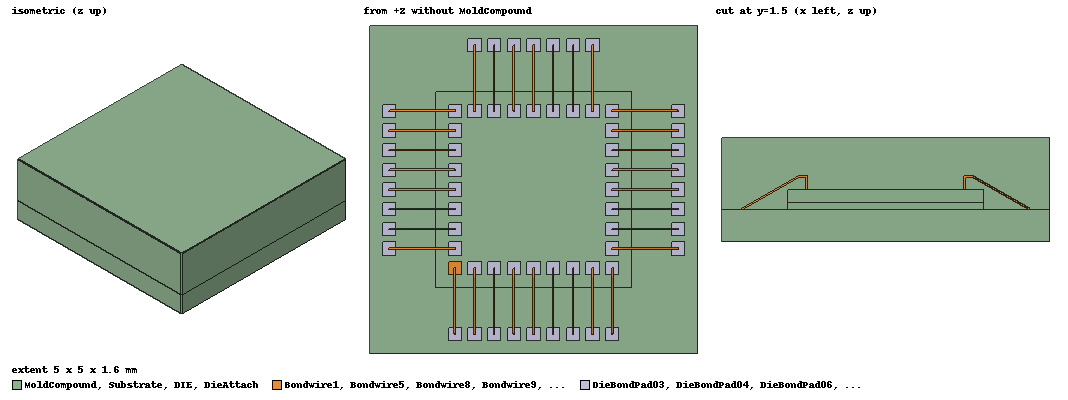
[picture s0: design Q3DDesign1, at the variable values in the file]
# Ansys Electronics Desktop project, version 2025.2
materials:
  vacuum: permittivity=1
  copper: permeability=0.999991 conductivity=58000000
  silicon: permittivity=11.9
  FR4_epoxy: permittivity=4.4 dielectric_loss_tangent=0.02
  modified_epoxy: permittivity=4.2 dielectric_loss_tangent=0.02
  gold: permeability=0.99996 conductivity=41000000
  epoxy_Kevlar_xy: permittivity=3.6

design Q3DDesign1 (Q3D Extractor, model units mm)
options: SParamCalcMethod=EqTransLine Calculate_Lossy_Dielectrics
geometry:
  DIE [silicon] = rectangle(corner=(0mm, 0mm, 0mm), x_size=3mm, y_size=3mm)
  DIE.thicken(0.2mm)
  Substrate [FR4_epoxy] = rectangle(corner=(-1mm, -1mm, -0.1mm), x_size=5mm, y_size=5mm)
  Substrate.thicken(-0.5mm)
  DieAttach [modified_epoxy] = rectangle(corner=(0mm, 0mm, 0mm), x_size=3mm, y_size=3mm)
  DieAttach.thicken(-0.1mm)
  DieBondPad [copper] = rectangle(corner=(0.2mm, 0.2mm, 0.2mm), x_size=0.2mm, y_size=0.2mm)
  DieBondPad.thicken(0.005mm)
  SubstrateBondPad [copper] = rectangle(corner=(0.2mm, -0.8mm, -0.1mm), x_size=0.2mm, y_size=0.2mm)
  Bondwire1 [gold] = bondwire(WireType=JEDEC_4Points WireDiameter=0.025mm NumSides=6 XPadPos=0.3mm YPadPos=0.3mm ZPadPos=0.205mm XDir=0mm YDir=-1mm ZDir=0mm Distance=1mm h1=0.2mm h2=0.305mm alpha=80deg beta=5deg WhichAxis=Z)
  DieBondpad2 [copper] = rectangle(corner=(0.5mm, 0.2mm, 0.2mm), x_size=0.2mm, y_size=0.2mm)
  DieBondPad3 [copper] = rectangle(corner=(0.8mm, 0.2mm, 0.2mm), x_size=0.2mm, y_size=0.2mm)
  DieBondPad4 [copper] = rectangle(corner=(1.1mm, 0.2mm, 0.2mm), x_size=0.2mm, y_size=0.2mm)
  DieBondPad5 [copper] = rectangle(corner=(1.4mm, 0.2mm, 0.2mm), x_size=0.2mm, y_size=0.2mm)
  DieBondPad6 [copper] = rectangle(corner=(1.7mm, 0.2mm, 0.2mm), x_size=0.2mm, y_size=0.2mm)
  DieBondPad7 [copper] = rectangle(corner=(2mm, 0.2mm, 0.2mm), x_size=0.2mm, y_size=0.2mm)
  DieBondPad8 [copper] = rectangle(corner=(2.3mm, 0.2mm, 0.2mm), x_size=0.2mm, y_size=0.2mm)
  DieBondPad9 [copper] = rectangle(corner=(2.6mm, 0.2mm, 0.2mm), x_size=0.2mm, y_size=0.2mm)
  SubstrateBondPad2 [copper] = rectangle(corner=(0.5mm, -0.8mm, -0.1mm), x_size=0.2mm, y_size=0.2mm)
  SubstrateBondPad3 [copper] = rectangle(corner=(0.8mm, -0.8mm, -0.1mm), x_size=0.2mm, y_size=0.2mm)
  SubstrateBondPad4 [copper] = rectangle(corner=(1.1mm, -0.8mm, -0.1mm), x_size=0.2mm, y_size=0.2mm)
  SubstarteBondPad5 [copper] = rectangle(corner=(1.4mm, -0.8mm, -0.1mm), x_size=0.2mm, y_size=0.2mm)
  SubstrateBondPad6 [copper] = rectangle(corner=(1.7mm, -0.8mm, -0.1mm), x_size=0.2mm, y_size=0.2mm)
  SubstarteBondpad7 [copper] = rectangle(corner=(2mm, -0.8mm, -0.1mm), x_size=0.2mm, y_size=0.2mm)
  SubstarateBondPad8 [copper] = rectangle(corner=(2.3mm, -0.8mm, -0.1mm), x_size=0.2mm, y_size=0.2mm)
  SubstrateBondPad9 [copper] = rectangle(corner=(2.6mm, -0.8mm, -0.1mm), x_size=0.2mm, y_size=0.2mm)
  Bondwire2 [gold] = bondwire(WireType=JEDEC_4Points WireDiameter=0.025mm NumSides=6 XPadPos=0.6mm YPadPos=0.3mm ZPadPos=0.2mm XDir=0mm YDir=-1mm ZDir=0mm Distance=1mm h1=0.2mm h2=0.3mm alpha=80deg beta=5deg WhichAxis=Z)
  Bondwire3 [gold] = bondwire(WireType=JEDEC_4Points WireDiameter=0.025mm NumSides=6 XPadPos=0.9mm YPadPos=0.3mm ZPadPos=0.2mm XDir=1.110223e-16mm YDir=-1mm ZDir=0mm Distance=1mm h1=0.2mm h2=0.3mm alpha=80deg beta=5deg WhichAxis=Z)
  Bondwire4 [gold] = bondwire(WireType=JEDEC_4Points WireDiameter=0.025mm NumSides=6 XPadPos=1.2mm YPadPos=0.3mm ZPadPos=0.2mm XDir=0mm YDir=-1mm ZDir=0mm Distance=1mm h1=0.2mm h2=0.3mm alpha=80deg beta=5deg WhichAxis=Z)
  Bondwire5 [gold] = bondwire(WireType=JEDEC_4Points WireDiameter=0.025mm NumSides=6 XPadPos=1.5mm YPadPos=0.3mm ZPadPos=0.2mm XDir=4.4408921e-16mm YDir=-1mm ZDir=0mm Distance=1mm h1=0.2mm h2=0.3mm alpha=80deg beta=5deg WhichAxis=Z)
  Bondwire6 [gold] = bondwire(WireType=JEDEC_4Points WireDiameter=0.025mm NumSides=6 XPadPos=1.8mm YPadPos=0.3mm ZPadPos=0.2mm XDir=0mm YDir=-1mm ZDir=0mm Distance=1mm h1=0.2mm h2=0.3mm alpha=80deg beta=5deg WhichAxis=Z)
  Bondwire7 [gold] = bondwire(WireType=JEDEC_4Points WireDiameter=0.025mm NumSides=6 XPadPos=2.1mm YPadPos=0.3mm ZPadPos=0.2mm XDir=0mm YDir=-1mm ZDir=0mm Distance=1mm h1=0.2mm h2=0.3mm alpha=80deg beta=5deg WhichAxis=Z)
  Bondwire8 [gold] = bondwire(WireType=JEDEC_4Points WireDiameter=0.025mm NumSides=6 XPadPos=2.4mm YPadPos=0.3mm ZPadPos=0.2mm XDir=-4.4408921e-16mm YDir=-1mm ZDir=0mm Distance=1mm h1=0.2mm h2=0.3mm alpha=80deg beta=5deg WhichAxis=Z)
  Bondwire9 [gold] = bondwire(WireType=JEDEC_4Points WireDiameter=0.025mm NumSides=6 XPadPos=2.7mm YPadPos=0.3mm ZPadPos=0.2mm XDir=-4.4408921e-16mm YDir=-1mm ZDir=0mm Distance=1mm h1=0.2mm h2=0.3mm alpha=80deg beta=5deg WhichAxis=Z)
  DieBondPad01 [copper] = rectangle(corner=(2.6mm, 0.5mm, 0.2mm), x_size=0.2mm, y_size=0.2mm)
  DieBondPad02 [copper] = rectangle(corner=(2.6mm, 0.8mm, 0.2mm), x_size=0.2mm, y_size=0.2mm)
  DieBondPad03 [copper] = rectangle(corner=(2.6mm, 1.1mm, 0.2mm), x_size=0.2mm, y_size=0.2mm)
  DieBondPad04 [copper] = rectangle(corner=(2.6mm, 1.4mm, 0.2mm), x_size=0.2mm, y_size=0.2mm)
  DieBondPad06 [copper] = rectangle(corner=(2.6mm, 2mm, 0.2mm), x_size=0.2mm, y_size=0.2mm)
  DieBondPad07 [copper] = rectangle(corner=(2.6mm, 2.3mm, 0.2mm), x_size=0.2mm, y_size=0.2mm)
  DieBondPad08 [copper] = rectangle(corner=(2.6mm, 2.6mm, 0.2mm), x_size=0.2mm, y_size=0.2mm)
  DieBondPad05 [copper] = rectangle(corner=(2.6mm, 1.7mm, 0.2mm), x_size=0.2mm, y_size=0.2mm)
  DieBondPadu1 [copper] = rectangle(corner=(0.2mm, 0.5mm, 0.2mm), x_size=0.2mm, y_size=0.2mm)
  DieBondPadu2 [copper] = rectangle(corner=(0.2mm, 0.8mm, 0.2mm), x_size=0.2mm, y_size=0.2mm)
  DieBondPadu3 [copper] = rectangle(corner=(0.2mm, 1.1mm, 0.2mm), x_size=0.2mm, y_size=0.2mm)
  DieBondPadu4 [copper] = rectangle(corner=(0.2mm, 1.4mm, 0.2mm), x_size=0.2mm, y_size=0.2mm)
  DieBondPadu5 [copper] = rectangle(corner=(0.2mm, 1.7mm, 0.2mm), x_size=0.2mm, y_size=0.2mm)
  DieBondPadu6 [copper] = rectangle(corner=(0.2mm, 2mm, 0.2mm), x_size=0.2mm, y_size=0.2mm)
  DieBondPadu7 [copper] = rectangle(corner=(0.2mm, 2.3mm, 0.2mm), x_size=0.2mm, y_size=0.2mm)
  DieBondPadu8 [copper] = rectangle(corner=(0.2mm, 2.6mm, 0.2mm), x_size=0.2mm, y_size=0.2mm)
  DieBondPadr1 [copper] = rectangle(corner=(0.5mm, 2.6mm, 0.2mm), x_size=0.2mm, y_size=0.2mm)
  DieBondPadr2 [copper] = rectangle(corner=(0.8mm, 2.6mm, 0.2mm), x_size=0.2mm, y_size=0.2mm)
  DieBondPadr3 [copper] = rectangle(corner=(1.1mm, 2.6mm, 0.2mm), x_size=0.2mm, y_size=0.2mm)
  DieBondPadr4 [copper] = rectangle(corner=(1.4mm, 2.6mm, 0.2mm), x_size=0.2mm, y_size=0.2mm)
  DieBondPadr5 [copper] = rectangle(corner=(1.7mm, 2.6mm, 0.2mm), x_size=0.2mm, y_size=0.2mm)
  DieBondPadr6 [copper] = rectangle(corner=(2mm, 2.6mm, 0.2mm), x_size=0.2mm, y_size=0.2mm)
  DieBondPadr7 [copper] = rectangle(corner=(2.3mm, 2.6mm, 0.2mm), x_size=0.2mm, y_size=0.2mm)
  SubstarteBondPadd1 [copper] = rectangle(corner=(3.6mm, 0.5mm, -0.1mm), x_size=0.2mm, y_size=0.2mm)
  SubstarteBondPadd2 [copper] = rectangle(corner=(3.6mm, 0.8mm, -0.1mm), x_size=0.2mm, y_size=0.2mm)
  SubstarteBondPadd3 [copper] = rectangle(corner=(3.6mm, 1.1mm, -0.1mm), x_size=0.2mm, y_size=0.2mm)
  SubstarteBondPadd4 [copper] = rectangle(corner=(3.6mm, 1.4mm, -0.1mm), x_size=0.2mm, y_size=0.2mm)
  SubstarteBondPadd5 [copper] = rectangle(corner=(3.6mm, 1.7mm, -0.1mm), x_size=0.2mm, y_size=0.2mm)
  SubstarteBondPadd6 [copper] = rectangle(corner=(3.6mm, 2mm, -0.1mm), x_size=0.2mm, y_size=0.2mm)
  SubstarteBondPadd7 [copper] = rectangle(corner=(3.6mm, 2.3mm, -0.1mm), x_size=0.2mm, y_size=0.2mm)
  SubstarteBondPadd8 [copper] = rectangle(corner=(3.6mm, 2.6mm, -0.1mm), x_size=0.2mm, y_size=0.2mm)
  SubstarteBondPadu1 [copper] = rectangle(corner=(-0.8mm, 0.5mm, -0.1mm), x_size=0.2mm, y_size=0.2mm)
  SubstarteBondPadu2 [copper] = rectangle(corner=(-0.8mm, 0.8mm, -0.1mm), x_size=0.2mm, y_size=0.2mm)
  SubstarteBondPadu3 [copper] = rectangle(corner=(-0.8mm, 1.1mm, -0.1mm), x_size=0.2mm, y_size=0.2mm)
  SubstarteBondPadu4 [copper] = rectangle(corner=(-0.8mm, 1.4mm, -0.1mm), x_size=0.2mm, y_size=0.2mm)
  SubstarteBondPadu5 [copper] = rectangle(corner=(-0.8mm, 1.4mm, -0.1mm), x_size=0.2mm, y_size=0.2mm)
  SubstarteBondPadu6 [copper] = rectangle(corner=(-0.8mm, 1.7mm, -0.1mm), x_size=0.2mm, y_size=0.2mm)
  SubstarteBondPadu7 [copper] = rectangle(corner=(-0.8mm, 2mm, -0.1mm), x_size=0.2mm, y_size=0.2mm)
  SubstarteBondPadu8 [copper] = rectangle(corner=(-0.8mm, 2.3mm, -0.1mm), x_size=0.2mm, y_size=0.2mm)
  SubstarteBondPadu8_1 [copper] = rectangle(corner=(-0.8mm, 2.6mm, -0.1mm), x_size=0.2mm, y_size=0.2mm)
  SubstarteBondPadr1 [copper] = rectangle(corner=(0.5mm, 3.6mm, -0.1mm), x_size=0.2mm, y_size=0.2mm)
  SubstarteBondPadr2 [copper] = rectangle(corner=(0.8mm, 3.6mm, -0.1mm), x_size=0.2mm, y_size=0.2mm)
  SubstarteBondPadr3 [copper] = rectangle(corner=(1.1mm, 3.6mm, -0.1mm), x_size=0.2mm, y_size=0.2mm)
  SubstarteBondPadr4 [copper] = rectangle(corner=(1.4mm, 3.6mm, -0.1mm), x_size=0.2mm, y_size=0.2mm)
  SubstarteBondPadr5 [copper] = rectangle(corner=(1.7mm, 3.6mm, -0.1mm), x_size=0.2mm, y_size=0.2mm)
  SubstarteBondPadr6 [copper] = rectangle(corner=(2mm, 3.6mm, -0.1mm), x_size=0.2mm, y_size=0.2mm)
  SubstarteBondPadr7 [copper] = rectangle(corner=(2.3mm, 3.6mm, -0.1mm), x_size=0.2mm, y_size=0.2mm)
  Bondwire10 [gold] = bondwire(WireType=JEDEC_4Points WireDiameter=0.025mm NumSides=6 XPadPos=2.4mm YPadPos=2.7mm ZPadPos=0.2mm XDir=-4.4408921e-16mm YDir=1mm ZDir=0mm Distance=1mm h1=0.2mm h2=0.3mm alpha=80deg beta=5deg WhichAxis=Z)
  Bondwire11 [gold] = bondwire(WireType=JEDEC_4Points WireDiameter=0.025mm NumSides=6 XPadPos=2.1mm YPadPos=2.7mm ZPadPos=0.2mm XDir=0mm YDir=1mm ZDir=0mm Distance=1mm h1=0.2mm h2=0.3mm alpha=80deg beta=5deg WhichAxis=Z)
  Bondwire12 [gold] = bondwire(WireType=JEDEC_4Points WireDiameter=0.025mm NumSides=6 XPadPos=1.8mm YPadPos=2.7mm ZPadPos=0.2mm XDir=-4.4408921e-16mm YDir=1mm ZDir=0mm Distance=1mm h1=0.2mm h2=0.3mm alpha=80deg beta=5deg WhichAxis=Z)
  Bondwire14 [gold] = bondwire(WireType=JEDEC_4Points WireDiameter=0.025mm NumSides=6 XPadPos=1.2mm YPadPos=2.7mm ZPadPos=0.2mm XDir=0mm YDir=1mm ZDir=0mm Distance=1mm h1=0.2mm h2=0.3mm alpha=80deg beta=5deg WhichAxis=Z)
  Bondwire15 [gold] = bondwire(WireType=JEDEC_4Points WireDiameter=0.025mm NumSides=6 XPadPos=0.9mm YPadPos=2.7mm ZPadPos=0.2mm XDir=2.220446e-16mm YDir=1mm ZDir=0mm Distance=1mm h1=0.2mm h2=0.3mm alpha=80deg beta=5deg WhichAxis=Z)
  Bondwire16 [gold] = bondwire(WireType=JEDEC_4Points WireDiameter=0.025mm NumSides=6 XPadPos=0.6mm YPadPos=2.7mm ZPadPos=0.2mm XDir=-1.110223e-16mm YDir=1mm ZDir=0mm Distance=1mm h1=0.2mm h2=0.3mm alpha=80deg beta=5deg WhichAxis=Z)
  Bondwire17 [gold] = bondwire(WireType=JEDEC_4Points WireDiameter=0.025mm NumSides=6 XPadPos=0.3mm YPadPos=2.7mm ZPadPos=0.2mm XDir=-1mm YDir=0mm ZDir=0mm Distance=1mm h1=0.2mm h2=0.3mm alpha=80deg beta=5deg WhichAxis=Z)
  Bondwire18 [gold] = bondwire(WireType=JEDEC_4Points WireDiameter=0.025mm NumSides=6 XPadPos=0.3mm YPadPos=2.4mm ZPadPos=0.2mm XDir=-1mm YDir=0mm ZDir=0mm Distance=1mm h1=0.2mm h2=0.3mm alpha=80deg beta=5deg WhichAxis=Z)
  Bondwire19 [copper] = bondwire(WireType=JEDEC_4Points WireDiameter=0.025mm NumSides=6 XPadPos=0.3mm YPadPos=2.1mm ZPadPos=0.2mm XDir=-1mm YDir=4.4408921e-16mm ZDir=0mm Distance=1mm h1=0.2mm h2=0.3mm alpha=80deg beta=5deg WhichAxis=Z)
  Bondwire20 [copper] = bondwire(WireType=JEDEC_4Points WireDiameter=0.025mm NumSides=6 XPadPos=0.3mm YPadPos=1.8mm ZPadPos=0.2mm XDir=-1mm YDir=0mm ZDir=0mm Distance=1mm h1=0.2mm h2=0.3mm alpha=80deg beta=5deg WhichAxis=Z)
  Bondwire21 [copper] = bondwire(WireType=JEDEC_4Points WireDiameter=0.025mm NumSides=6 XPadPos=0.3mm YPadPos=1.5mm ZPadPos=0.2mm XDir=-1mm YDir=-2.220446e-16mm ZDir=0mm Distance=1mm h1=0.2mm h2=0.3mm alpha=80deg beta=5deg WhichAxis=Z)
  Bondwire22 [copper] = bondwire(WireType=JEDEC_4Points WireDiameter=0.025mm NumSides=6 XPadPos=0.3mm YPadPos=1.2mm ZPadPos=0.2mm XDir=-1mm YDir=0mm ZDir=0mm Distance=1mm h1=0.2mm h2=0.3mm alpha=80deg beta=5deg WhichAxis=Z)
  Bondwire23 [copper] = bondwire(WireType=JEDEC_4Points WireDiameter=0.025mm NumSides=6 XPadPos=0.3mm YPadPos=0.9mm ZPadPos=0.2mm XDir=-1mm YDir=-2.220446e-16mm ZDir=0mm Distance=1mm h1=0.2mm h2=0.3mm alpha=80deg beta=5deg WhichAxis=Z)
  Bondwire24 [copper] = bondwire(WireType=JEDEC_4Points WireDiameter=0.025mm NumSides=6 XPadPos=0.3mm YPadPos=0.6mm ZPadPos=0.2mm XDir=-1mm YDir=0mm ZDir=0mm Distance=1mm h1=0.2mm h2=0.3mm alpha=80deg beta=5deg WhichAxis=Z)
  Bondwire25 [copper] = bondwire(WireType=JEDEC_4Points WireDiameter=0.025mm NumSides=6 XPadPos=2.7mm YPadPos=0.6mm ZPadPos=0.2mm XDir=1mm YDir=0mm ZDir=0mm Distance=1mm h1=0.2mm h2=0.3mm alpha=80deg beta=5deg WhichAxis=Z)
  Bondwire26 [copper] = bondwire(WireType=JEDEC_4Points WireDiameter=0.025mm NumSides=6 XPadPos=2.7mm YPadPos=0.9mm ZPadPos=0.2mm XDir=1mm YDir=0mm ZDir=0mm Distance=1mm h1=0.2mm h2=0.3mm alpha=80deg beta=5deg WhichAxis=Z)
  Bondwire27 [copper] = bondwire(WireType=JEDEC_4Points WireDiameter=0.025mm NumSides=6 XPadPos=2.7mm YPadPos=1.2mm ZPadPos=0.2mm XDir=1mm YDir=0mm ZDir=0mm Distance=1mm h1=0.2mm h2=0.3mm alpha=80deg beta=5deg WhichAxis=Z)
  Bondwire28 [copper] = bondwire(WireType=JEDEC_4Points WireDiameter=0.025mm NumSides=6 XPadPos=2.7mm YPadPos=1.5mm ZPadPos=0.2mm XDir=1mm YDir=0mm ZDir=0mm Distance=1mm h1=0.2mm h2=0.3mm alpha=80deg beta=5deg WhichAxis=Z)
  Bondwire29 [copper] = bondwire(WireType=JEDEC_4Points WireDiameter=0.025mm NumSides=6 XPadPos=2.7mm YPadPos=1.8mm ZPadPos=0.2mm XDir=1mm YDir=0mm ZDir=0mm Distance=1mm h1=0.2mm h2=0.3mm alpha=80deg beta=5deg WhichAxis=Z)
  Bondwire30 [copper] = bondwire(WireType=JEDEC_4Points WireDiameter=0.025mm NumSides=6 XPadPos=2.7mm YPadPos=2.1mm ZPadPos=0.2mm XDir=1mm YDir=0mm ZDir=0mm Distance=1mm h1=0.2mm h2=0.3mm alpha=80deg beta=5deg WhichAxis=Z)
  Bondwire31 [copper] = bondwire(WireType=JEDEC_4Points WireDiameter=0.025mm NumSides=6 XPadPos=2.7mm YPadPos=2.4mm ZPadPos=0.2mm XDir=1mm YDir=0mm ZDir=0mm Distance=1mm h1=0.2mm h2=0.3mm alpha=80deg beta=5deg WhichAxis=Z)
  Bondwire32 [copper] = bondwire(WireType=JEDEC_4Points WireDiameter=0.025mm NumSides=6 XPadPos=2.7mm YPadPos=2.7mm ZPadPos=0.2mm XDir=1mm YDir=0mm ZDir=0mm Distance=1mm h1=0.2mm h2=0.3mm alpha=80deg beta=5deg WhichAxis=Z)
  Bondwire33 [copper] = bondwire(WireType=JEDEC_4Points WireDiameter=0.025mm NumSides=6 XPadPos=1.5mm YPadPos=2.7mm ZPadPos=0.2mm XDir=2.220446e-16mm YDir=1mm ZDir=0mm Distance=1mm h1=0.2mm h2=0.3mm alpha=80deg beta=5deg WhichAxis=Z)
  MoldCompound [epoxy_Kevlar_xy] = rectangle(corner=(-1mm, 4mm, 1mm), x_size=5mm, y_size=-5mm)
  MoldCompound.thicken(1.2mm)
